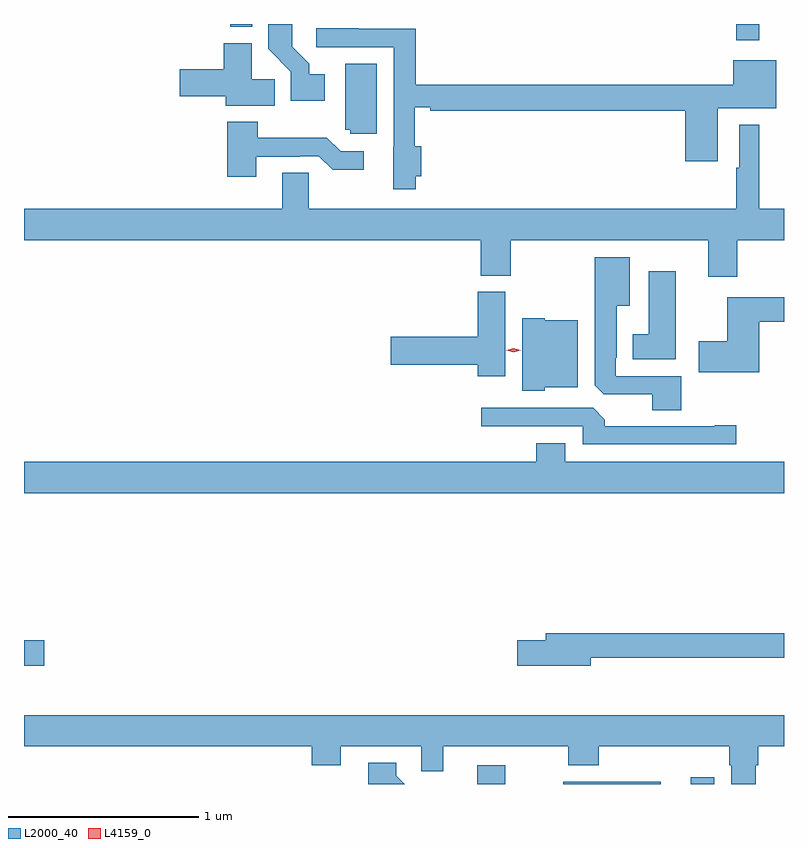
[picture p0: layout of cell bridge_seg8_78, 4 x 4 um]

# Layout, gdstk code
import gdstk
lib = gdstk.Library(unit=1e-6, precision=1e-09)
def R(c, l, rs):  # rectangles x0, y0, x1, y1
    for r in rs: c.add(gdstk.rectangle(r[:2], r[2:], *l))
def P(c, l, *ps):  # polygons
    for p in ps: c.add(gdstk.Polygon(p, *l))
L2000_40 = (2000, 40)
L4159_0 = (4159, 0)

bridge_seg8_78 = lib.new_cell('bridge_seg8_78')
R(bridge_seg8_78, L2000_40, [(950.783,1102.981,950.931,1103.08), (951.235,1102.981,951.748,1102.994), (951.908,1102.981,952.03,1103.017), (948.398,1103.603,948.505,1103.738), (952.146,1106.895,952.267,1106.981), (949.483,1106.966,949.599,1106.981)])
P(bridge_seg8_78, L2000_40, [(949.981,1106.716),(949.9,1106.716),(949.9,1106.771),(949.81,1106.861),(949.81,1106.981),(949.684,1106.981),(949.684,1106.85),(949.803,1106.731),(949.803,1106.576),(949.981,1106.576)],
  [(950.459,1106.18),(950.489,1106.18),(950.489,1106.338),(950.455,1106.338),(950.455,1106.543),(950.536,1106.543),(950.536,1106.524),(951.878,1106.524),(951.878,1106.259),(952.048,1106.259),(952.048,1106.537),(952.357,1106.537),(952.357,1106.791),(952.13,1106.791),(952.13,1106.66),(950.459,1106.66),(950.459,1106.955),(950.159,1106.955),(950.159,1106.958),(949.935,1106.958),(949.935,1106.859),(950.343,1106.859),(950.343,1106.334),(950.342,1106.334),(950.342,1106.112),(950.459,1106.112)],
  [(949.718,1106.69),(949.597,1106.69),(949.597,1106.881),(949.448,1106.881),(949.448,1106.742),(949.218,1106.742),(949.218,1106.6),(949.46,1106.6),(949.46,1106.552),(949.718,1106.552)],
  [(950.254,1106.773),(950.09,1106.773),(950.09,1106.424),(950.115,1106.424),(950.115,1106.403),(950.254,1106.403)],
  [(949.621,1106.283),(949.85,1106.283),(949.85,1106.286),(949.95,1106.286),(950.023,1106.213),(950.185,1106.213),(950.185,1106.31),(950.064,1106.31),(949.991,1106.383),(949.629,1106.383),(949.629,1106.467),(949.469,1106.467),(949.469,1106.178),(949.621,1106.178)],
  [(952.151,1105.844),(952.398,1105.844),(952.398,1106.008),(952.267,1106.008),(952.267,1106.452),(952.163,1106.452),(952.163,1106.225),(952.146,1106.225),(952.146,1106.008),(949.896,1106.008),(949.896,1106.198),(949.757,1106.198),(949.757,1106.008),(948.398,1106.008),(948.398,1105.844),(950.801,1105.844),(950.801,1105.657),(950.961,1105.657),(950.961,1105.844),(951.998,1105.844),(951.998,1105.65),(952.151,1105.65)],
  [(951.857,1105.128),(951.513,1105.128),(951.513,1105.225),(951.517,1105.225),(951.517,1105.499),(951.586,1105.499),(951.586,1105.753),(951.401,1105.753),(951.401,1105.081),(951.45,1105.032),(951.704,1105.032),(951.704,1104.949),(951.857,1104.949)],
  [(951.829,1105.681),(951.686,1105.681),(951.686,1105.348),(951.602,1105.348),(951.602,1105.217),(951.829,1105.217)],
  [(950.932,1105.572),(950.786,1105.572),(950.786,1105.334),(950.328,1105.334),(950.328,1105.187),(950.786,1105.187),(950.786,1105.128),(950.932,1105.128)],
  [(952.268,1105.414),(952.398,1105.414),(952.398,1105.543),(952.1,1105.543),(952.1,1105.311),(951.948,1105.311),(951.948,1105.148),(952.268,1105.148)],
  [(951.138,1105.07),(951.313,1105.07),(951.313,1105.423),(951.138,1105.423),(951.138,1105.432),(951.02,1105.432),(951.02,1105.052),(951.138,1105.052)],
  [(952.147,1104.869),(952.034,1104.869),(952.034,1104.864),(951.455,1104.864),(951.455,1104.898),(951.393,1104.96),(950.805,1104.96),(950.805,1104.864),(951.339,1104.864),(951.339,1104.768),(952.147,1104.768)],
  [(952.398,1104.676),(951.247,1104.676),(951.247,1104.775),(951.095,1104.775),(951.095,1104.676),(948.398,1104.676),(948.398,1104.512),(952.398,1104.512)],
  [(951.382,1103.646),(952.398,1103.646),(952.398,1103.774),(951.143,1103.774),(951.143,1103.738),(950.994,1103.738),(950.994,1103.603),(951.382,1103.603)],
  [(952.249,1103.079),(952.262,1103.079),(952.262,1103.18),(952.398,1103.18),(952.398,1103.344),(948.398,1103.344),(948.398,1103.18),(949.913,1103.18),(949.913,1103.081),(950.065,1103.081),(950.065,1103.18),(950.49,1103.18),(950.49,1103.049),(950.605,1103.049),(950.605,1103.18),(951.262,1103.18),(951.262,1103.081),(951.422,1103.081),(951.422,1103.18),(952.109,1103.18),(952.109,1103.079),(952.121,1103.079),(952.121,1102.981),(952.249,1102.981)],
  [(950.358,1103.025),(950.358,1103.092),(950.211,1103.092),(950.211,1102.981),(950.402,1102.981)])
P(bridge_seg8_78, L4159_0, [(950.975,1105.254),(950.937,1105.264),(950.937,1105.264),(950.937,1105.264),(950.975,1105.274),(951.013,1105.264),(951.013,1105.264),(951.013,1105.264)])

lib.write_gds('bridge_seg8_78.gds')
